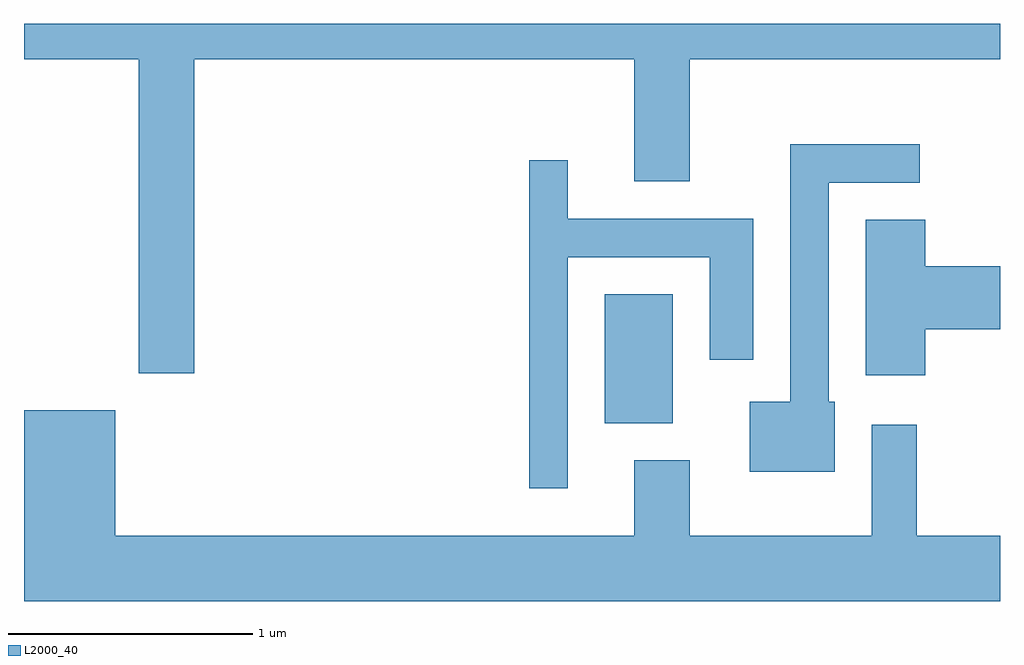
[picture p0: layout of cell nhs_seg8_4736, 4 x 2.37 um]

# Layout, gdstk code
import gdstk
lib = gdstk.Library(unit=1e-6, precision=1e-09)
def R(c, l, rs):  # rectangles x0, y0, x1, y1
    for r in rs: c.add(gdstk.rectangle(r[:2], r[2:], *l))
def P(c, l, *ps):  # polygons
    for p in ps: c.add(gdstk.Polygon(p, *l))
L2000_40 = (2000, 40)

nhs_seg8_4736 = lib.new_cell('nhs_seg8_4736')
R(nhs_seg8_4736, L2000_40, [(329.991,1832.706,330.269,1833.234)])
P(nhs_seg8_4736, L2000_40, [(328.309,1834.196),(330.111,1834.196),(330.111,1833.696),(330.339,1833.696),(330.339,1834.196),(331.611,1834.196),(331.611,1834.342),(327.611,1834.342),(327.611,1834.196),(328.081,1834.196),(328.081,1832.911),(328.309,1832.911)],
  [(330.934,1832.794),(330.909,1832.794),(330.909,1833.691),(331.283,1833.691),(331.283,1833.849),(330.751,1833.849),(330.751,1832.794),(330.586,1832.794),(330.586,1832.506),(330.934,1832.506)],
  [(329.839,1833.386),(330.421,1833.386),(330.421,1832.966),(330.599,1832.966),(330.599,1833.544),(329.839,1833.544),(329.839,1833.783),(329.681,1833.783),(329.681,1832.438),(329.839,1832.438)],
  [(331.304,1833.091),(331.611,1833.091),(331.611,1833.349),(331.304,1833.349),(331.304,1833.539),(331.061,1833.539),(331.061,1832.901),(331.304,1832.901)],
  [(331.611,1832.244),(331.269,1832.244),(331.269,1832.699),(331.086,1832.699),(331.086,1832.244),(330.339,1832.244),(330.339,1832.554),(330.111,1832.554),(330.111,1832.244),(327.984,1832.244),(327.984,1832.759),(327.611,1832.759),(327.611,1831.976),(331.611,1831.976)])

lib.write_gds('nhs_seg8_4736.gds')
